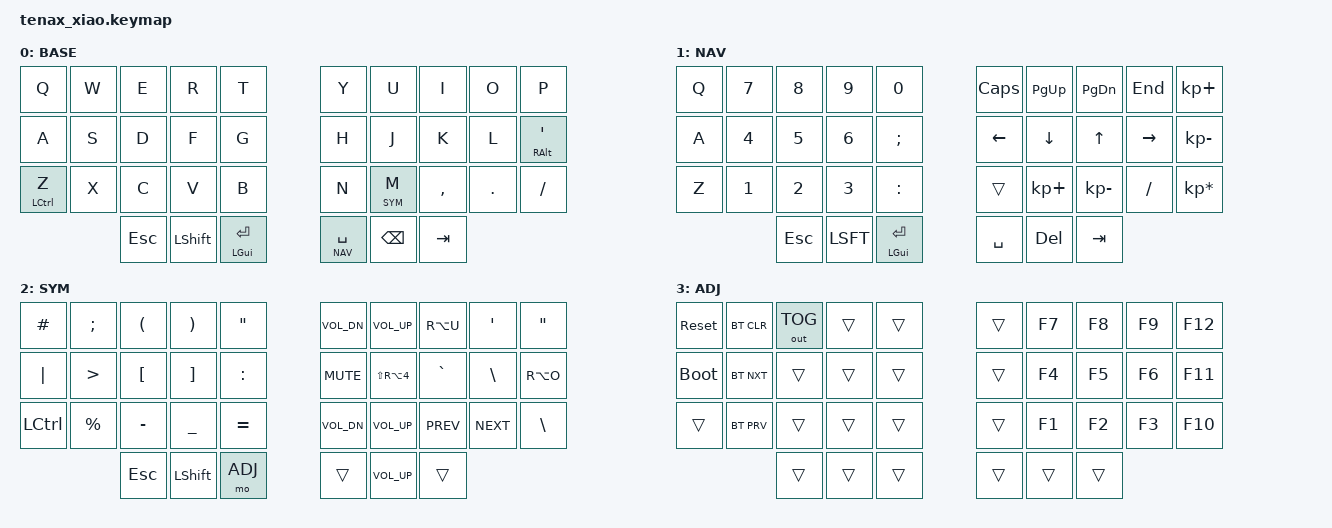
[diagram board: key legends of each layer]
#include <behaviors.dtsi>
#include <dt-bindings/zmk/keys.h>
#include <dt-bindings/zmk/bt.h>
#include <dt-bindings/zmk/outputs.h>

#define BASE 0
#define NAV  1
#define SYM  2
#define ADJ  3

&mt {
  quick-tap-ms = <100>;
  global-quick-tap;
  flavor = "hold-preferred";
  tapping-term-ms = <150>;
};

/ {
    combos {
            compatible = "zmk,combos";
            combo_esc {
                timeout-ms = <50>;
                key-positions = <0 1>;
                bindings = <&kp ESC>;
            };
    };

    macros {
        gif: gif {
            label = "giphy";
            compatible = "zmk,behavior-macro";
            #binding-cells = <0>;
            bindings
                = <&macro_press &kp LSHFT>
                , <&macro_tap &kp N2>
                , <&macro_release &kp LSHFT>
                , <&macro_tap &kp G &kp I &kp F>
                ;
        };
        vim_save: vim_save {
            label = "ZM_vim_save";
            compatible = "zmk,behavior-macro";
            #binding-cells = <0>;
            bindings
                = <&macro_tap &kp COLON &kp W &kp RET>
                ;
        };
        vim_quit: vim_quit {
            label = "ZM_vim_quit";
            compatible = "zmk,behavior-macro";
            #binding-cells = <0>;
            bindings
                = <&macro_tap &kp COLON &kp Q &kp RET>
                ;
        };
    };

        keymap {
                compatible = "zmk,keymap";
// ▄▄▄▄▄▄▄▄▄▄▄▄▄▄▄▄▄▄▄▄▄▄▄▄▄▄▄▄▄▄▄▄▄▄▄▄▄▄▄▄▄▄▄▄▄▄▄▄▄▄▄▄▄▄▄▄▄▄▄▄▄▄▄▄▄▄▄▄▄▄▄▄▄▄▄▄▄▄▄▄▄▄▄▄▄▄▄▄▄▄▄▄▄▄▄▄▄▄▄▄▄▄▄▄▄▄▄▄▄▄▄▄▄▄▄▄▄▄▄▄▄▄▄▄▄▄▄▄▄▄▄▄▄▄▄▄▄▄▄▄▄▄▄▄▄▄▄▄▄

                base_layer {
// ┏━━━━━━━━━━━━━━━━━━━━━━━━━━━━━━━━━━━━━━━┓
label= "BASE"                              ;
// ┗━━━━━━━━━━━━━━━━━━━━━━━━━━━━━━━━━━━━━━━┛
//             ┏━━━━━━━━━━━┳━━━━━━━━━━━┳━━━━━━━━━━━┳━━━━━━━━━━━┳━━━━━━━━━━━┓   ┏━━━━━━━━━━━┳━━━━━━━━━━━┳━━━━━━━━━━━┳━━━━━━━━━━━┳━━━━━━━━━━━┓
//             ┃     Q     ┃     W     ┃     E     ┃     R     ┃     T     ┃   ┃     Y     ┃     U     ┃     I     ┃     O     ┃     P     ┃
//             ┣━━━━━━━━━━━╋━━━━━━━━━━━╋━━━━━━━━━━━╋━━━━━━━━━━━╋━━━━━━━━━━━┫   ┣━━━━━━━━━━━╋━━━━━━━━━━━╋━━━━━━━━━━━╋━━━━━━━━━━━╋━━━━━━━━━━━┫
//             ┃     A     ┃     S     ┃     D     ┃     F     ┃     G     ┃   ┃     H     ┃     J     ┃     K     ┃     L     ┃     '     ┃
// ┏━━━━━━━━━━━╋━━━━━━━━━━━╋━━━━━━━━━━━╋━━━━━━━━━━━╋━━━━━━━━━━━╋━━━━━━━━━━━┫   ┣━━━━━━━━━━━╋━━━━━━━━━━━╋━━━━━━━━━━━╋━━━━━━━━━━━╋━━━━━━━━━━━╋━━━━━━━━━━━┓
// ┃           ┃     Z     ┃     X     ┃     C     ┃     V     ┃     B     ┃   ┃     N     ┃     M     ┃     ,     ┃     .     ┃     /     ┃           ┃
// ┗━━━━━━━━━━━┻━━━━━━━━━━━┻━━━━━━━━━━━╋━━━━━━━━━━━╋━━━━━━━━━━━╋━━━━━━━━━━━┫   ┣━━━━━━━━━━━╋━━━━━━━━━━━╋━━━━━━━━━━━╋━━━━━━━━━━━┻━━━━━━━━━━━┻━━━━━━━━━━━┛
//                                     ┃    ESC    ┃   SHIFT   ┃    ENTER  ┃   ┃   SPC     ┃   BSPC    ┃    TAB    ┃
//                                     ┗━━━━━━━━━━━┻━━━━━━━━━━━┻━━━━━━━━━━━┛   ┗━━━━━━━━━━━┻━━━━━━━━━━━┻━━━━━━━━━━━┛
 bindings = <
// ╷           ╷            ╷           ╷           ╷           ╷           ╷   ╷              ╷           ╷           ╷           ╷

    &kp Q        &kp W       &kp E       &kp R       &kp T           &kp Y          &kp U       &kp I       &kp O       &kp P
    &kp A        &kp S       &kp D       &kp F       &kp G           &kp H          &kp J       &kp K       &kp L       &mt RALT SQT
    &mt LCTRL Z  &kp X       &kp C       &kp V       &kp B           &kp N          &lt SYM M   &kp COMMA   &kp DOT     &kp FSLH
                             &kp ESC     &kp LSHIFT  &mt LGUI RET    &lt NAV SPACE  &kp BSPC    &kp TAB
                        >;
                };

// ▄▄▄▄▄▄▄▄▄▄▄▄▄▄▄▄▄▄▄▄▄▄▄▄▄▄▄▄▄▄▄▄▄▄▄▄▄▄▄▄▄▄▄▄▄▄▄▄▄▄▄▄▄▄▄▄▄▄▄▄▄▄▄▄▄▄▄▄▄▄▄▄▄▄▄▄▄▄▄▄▄▄▄▄▄▄▄▄▄▄▄▄▄▄▄▄▄▄▄▄▄▄▄▄▄▄▄▄▄▄▄▄▄▄▄▄▄▄▄▄▄▄▄▄▄▄▄▄▄▄▄▄▄▄▄▄▄▄▄▄▄▄▄▄▄▄▄▄▄


                nav_layer {
// ┏━━━━━━━━━━━━━━━━━━━━━━━━━━━━━━━━━━━━━━━┓
label= "NAV"                               ;
// ┗━━━━━━━━━━━━━━━━━━━━━━━━━━━━━━━━━━━━━━━┛
// OLD
//             ┏━━━━━━━━━━━┳━━━━━━━━━━━┳━━━━━━━━━━━┳━━━━━━━━━━━┳━━━━━━━━━━━┓   ┏━━━━━━━━━━━┳━━━━━━━━━━━┳━━━━━━━━━━━┳━━━━━━━━━━━┳━━━━━━━━━━━┓
//             ┃           ┃           ┃     UP    ┃           ┃     {     ┃   ┃     }     ┃     7     ┃     8     ┃     9     ┃     +     ┃
//             ┣━━━━━━━━━━━╋━━━━━━━━━━━╋━━━━━━━━━━━╋━━━━━━━━━━━╋━━━━━━━━━━━┫   ┣━━━━━━━━━━━╋━━━━━━━━━━━╋━━━━━━━━━━━╋━━━━━━━━━━━╋━━━━━━━━━━━┫
//             ┃   SHIFT   ┃   LEFT    ┃    DOWN   ┃   RIGHT   ┃     [     ┃   ┃     ]     ┃     4     ┃     5     ┃     6     ┃     -     ┃
// ┏━━━━━━━━━━━╋━━━━━━━━━━━╋━━━━━━━━━━━╋━━━━━━━━━━━╋━━━━━━━━━━━╋━━━━━━━━━━━┫   ┣━━━━━━━━━━━╋━━━━━━━━━━━╋━━━━━━━━━━━╋━━━━━━━━━━━╋━━━━━━━━━━━╋━━━━━━━━━━━┓
// ┃           ┃           ┃   P UP    ┃  C LOCK   ┃  P DOWN   ┃     (     ┃   ┃     )     ┃     1     ┃     2     ┃     3     ┃     *     ┃           ┃
// ┗━━━━━━━━━━━┻━━━━━━━━━━━┻━━━━━━━━━━━╋━━━━━━━━━━━╋━━━━━━━━━━━╋━━━━━━━━━━━┫   ┣━━━━━━━━━━━╋━━━━━━━━━━━╋━━━━━━━━━━━╋━━━━━━━━━━━┻━━━━━━━━━━━┻━━━━━━━━━━━┛
//                                     ┃           ┃    TAB    ┃    SPC    ┃   ┃    DEL    ┃     0     ┃           ┃
//                                     ┗━━━━━━━━━━━┻━━━━━━━━━━━┻━━━━━━━━━━━┛   ┗━━━━━━━━━━━┻━━━━━━━━━━━┻━━━━━━━━━━━┛
// NEW
//             ┏━━━━━━━━━━━┳━━━━━━━━━━━┳━━━━━━━━━━━┳━━━━━━━━━━━┳━━━━━━━━━━━┓   ┏━━━━━━━━━━━┳━━━━━━━━━━━┳━━━━━━━━━━━┳━━━━━━━━━━━┳━━━━━━━━━━━┓
//             ┃     Q     ┃     7     ┃     8     ┃     9     ┃     0     ┃   ┃  C LOCK   ┃   P UP    ┃    UP     ┃  P DOWN   ┃     +     ┃
//             ┣━━━━━━━━━━━╋━━━━━━━━━━━╋━━━━━━━━━━━╋━━━━━━━━━━━╋━━━━━━━━━━━┫   ┣━━━━━━━━━━━╋━━━━━━━━━━━╋━━━━━━━━━━━╋━━━━━━━━━━━╋━━━━━━━━━━━┫
//             ┃     A     ┃     4     ┃     5     ┃     6     ┃     ;     ┃   ┃           ┃   LEFT    ┃   DOWN    ┃   RIGHT   ┃     -     ┃
// ┏━━━━━━━━━━━╋━━━━━━━━━━━╋━━━━━━━━━━━╋━━━━━━━━━━━╋━━━━━━━━━━━╋━━━━━━━━━━━┫   ┣━━━━━━━━━━━╋━━━━━━━━━━━╋━━━━━━━━━━━╋━━━━━━━━━━━╋━━━━━━━━━━━╋━━━━━━━━━━━┓
// ┃           ┃     Z     ┃     1     ┃     2     ┃     3     ┃     :     ┃   ┃           ┃     +     ┃     -     ┃     /     ┃     *     ┃           ┃
// ┗━━━━━━━━━━━┻━━━━━━━━━━━┻━━━━━━━━━━━╋━━━━━━━━━━━╋━━━━━━━━━━━╋━━━━━━━━━━━┫   ┣━━━━━━━━━━━╋━━━━━━━━━━━╋━━━━━━━━━━━╋━━━━━━━━━━━┻━━━━━━━━━━━┻━━━━━━━━━━━┛
//                                     ┃    ESC    ┃    SHIFT  ┃    ENTER  ┃   ┃    SPC    ┃     DEL   ┃    TAB    ┃
//                                     ┗━━━━━━━━━━━┻━━━━━━━━━━━┻━━━━━━━━━━━┛   ┗━━━━━━━━━━━┻━━━━━━━━━━━┻━━━━━━━━━━━┛
 bindings = <
// ╷           ╷           ╷           ╷           ╷           ╷           ╷      ╷           ╷           ╷             ╷           ╷           ╷           ╷

    &kp Q       &kp N7       &kp N8     &kp N9       &kp N0             &kp CAPS    &kp PG_UP   &kp PG_DN     &kp END     &kp KP_PLUS
    &kp A       &kp N4       &kp N5     &kp N6       &kp SEMI           &kp LEFT    &kp DOWN    &kp UP        &kp RIGHT   &kp KP_MINUS
    &kp Z       &kp N1       &kp N2     &kp N3       &kp COLON          &trans      &kp KP_PLUS &kp KP_MINUS  &kp SLASH   &kp KP_MULTIPLY
                             &kp ESC    &kp LSFT     &mt LGUI RET       &kp SPACE   &kp DEL     &kp TAB
                        >;
                };

// ▄▄▄▄▄▄▄▄▄▄▄▄▄▄▄▄▄▄▄▄▄▄▄▄▄▄▄▄▄▄▄▄▄▄▄▄▄▄▄▄▄▄▄▄▄▄▄▄▄▄▄▄▄▄▄▄▄▄▄▄▄▄▄▄▄▄▄▄▄▄▄▄▄▄▄▄▄▄▄▄▄▄▄▄▄▄▄▄▄▄▄▄▄▄▄▄▄▄▄▄▄▄▄▄▄▄▄▄▄▄▄▄▄▄▄▄▄▄▄▄▄▄▄▄▄▄▄▄▄▄▄▄▄▄▄▄▄▄▄▄▄▄▄▄▄▄▄▄▄


                sim_layer {
// ┏━━━━━━━━━━━━━━━━━━━━━━━━━━━━━━━━━━━━━━━┓
label= "SYM"                               ;
// ┗━━━━━━━━━━━━━━━━━━━━━━━━━━━━━━━━━━━━━━━┛
// OLD
//             ┏━━━━━━━━━━━┳━━━━━━━━━━━┳━━━━━━━━━━━┳━━━━━━━━━━━┳━━━━━━━━━━━┓   ┏━━━━━━━━━━━┳━━━━━━━━━━━┳━━━━━━━━━━━┳━━━━━━━━━━━┳━━━━━━━━━━━┓
//             ┃     !     ┃     @     ┃     #     ┃     $     ┃     %     ┃   ┃     ˆ     ┃     &     ┃     Ü     ┃     '     ┃     "     ┃
//             ┣━━━━━━━━━━━╋━━━━━━━━━━━╋━━━━━━━━━━━╋━━━━━━━━━━━╋━━━━━━━━━━━┫   ┣━━━━━━━━━━━╋━━━━━━━━━━━╋━━━━━━━━━━━╋━━━━━━━━━━━╋━━━━━━━━━━━┫
//             ┃     Ä     ┃           ┃    SZ     ┃           ┃           ┃   ┃   MUTE    ┃   YEN     ┃   EURO    ┃  POUND    ┃     Ö     ┃
// ┏━━━━━━━━━━━╋━━━━━━━━━━━╋━━━━━━━━━━━╋━━━━━━━━━━━╋━━━━━━━━━━━╋━━━━━━━━━━━┫   ┣━━━━━━━━━━━╋━━━━━━━━━━━╋━━━━━━━━━━━╋━━━━━━━━━━━╋━━━━━━━━━━━╋━━━━━━━━━━━┓
// ┃           ┃  EMAIL1   ┃  EMAIL2   ┃           ┃           ┃           ┃   ┃   VOL-    ┃   VOL+    ┃   LAST    ┃   NEXT    ┃     \     ┃           ┃
// ┗━━━━━━━━━━━┻━━━━━━━━━━━┻━━━━━━━━━━━╋━━━━━━━━━━━╋━━━━━━━━━━━╋━━━━━━━━━━━┫   ┣━━━━━━━━━━━╋━━━━━━━━━━━╋━━━━━━━━━━━╋━━━━━━━━━━━┻━━━━━━━━━━━┻━━━━━━━━━━━┛
//                                     ┃           ┃    GIF    ┃    ADJ    ┃   ┃           ┃           ┃           ┃
//                                     ┗━━━━━━━━━━━┻━━━━━━━━━━━┻━━━━━━━━━━━┛   ┗━━━━━━━━━━━┻━━━━━━━━━━━┻━━━━━━━━━━━┛
// NEW
//             ┏━━━━━━━━━━━┳━━━━━━━━━━━┳━━━━━━━━━━━┳━━━━━━━━━━━┳━━━━━━━━━━━┓   ┏━━━━━━━━━━━┳━━━━━━━━━━━┳━━━━━━━━━━━┳━━━━━━━━━━━┳━━━━━━━━━━━┓
//             ┃     #     ┃     ;     ┃     (     ┃     )     ┃     "     ┃   ┃   VOL-    ┃   VOL+    ┃     Ü     ┃     '     ┃     "     ┃
//             ┣━━━━━━━━━━━╋━━━━━━━━━━━╋━━━━━━━━━━━╋━━━━━━━━━━━╋━━━━━━━━━━━┫   ┣━━━━━━━━━━━╋━━━━━━━━━━━╋━━━━━━━━━━━╋━━━━━━━━━━━╋━━━━━━━━━━━┫
//             ┃     |     ┃     >     ┃     [     ┃     ]     ┃     :     ┃   ┃   MUTE    ┃   YEN     ┃     `     ┃     \     ┃     Ö     ┃
// ┏━━━━━━━━━━━╋━━━━━━━━━━━╋━━━━━━━━━━━╋━━━━━━━━━━━╋━━━━━━━━━━━╋━━━━━━━━━━━┫   ┣━━━━━━━━━━━╋━━━━━━━━━━━╋━━━━━━━━━━━╋━━━━━━━━━━━╋━━━━━━━━━━━╋━━━━━━━━━━━┓
// ┃           ┃  EMAIL1   ┃     %     ┃     -     ┃     _     ┃     =     ┃   ┃   VOL-    ┃   VOL+    ┃   LAST    ┃   NEXT    ┃     \     ┃           ┃
// ┗━━━━━━━━━━━┻━━━━━━━━━━━┻━━━━━━━━━━━╋━━━━━━━━━━━╋━━━━━━━━━━━╋━━━━━━━━━━━┫   ┣━━━━━━━━━━━╋━━━━━━━━━━━╋━━━━━━━━━━━╋━━━━━━━━━━━┻━━━━━━━━━━━┻━━━━━━━━━━━┛
//                                     ┃           ┃    GIF    ┃    ADJ    ┃   ┃           ┃           ┃           ┃
//                                     ┗━━━━━━━━━━━┻━━━━━━━━━━━┻━━━━━━━━━━━┛   ┗━━━━━━━━━━━┻━━━━━━━━━━━┻━━━━━━━━━━━┛
 bindings = <
// ╷           ╷           ╷           ╷           ╷           ╷           ╷   ╷            ╷               ╷            ╷           ╷           ╷           ╷

    &kp HASH    &kp SEMI    &kp LPAR    &kp RPAR    &kp DQT         &kp C_VOL_DN &kp C_VOL_UP    &kp RA(U)    &kp SQT     &kp DQT
    &kp PIPE    &kp GT      &kp LBKT    &kp RBKT    &kp COLON       &kp C_MUTE   &kp LS(RA(N4))  &kp GRAVE    &kp BSLH    &kp RA(O)
    &kp LCTRL   &kp PERCENT &kp MINUS   &kp UNDER   &kp EQUAL       &kp C_VOL_DN &kp C_VOL_UP    &kp C_PREV   &kp C_NEXT  &kp BSLH
                            &kp ESC     &kp LSHIFT  &mo ADJ         &trans       &kp C_VOL_UP    &trans
                        >;
                };

// ▄▄▄▄▄▄▄▄▄▄▄▄▄▄▄▄▄▄▄▄▄▄▄▄▄▄▄▄▄▄▄▄▄▄▄▄▄▄▄▄▄▄▄▄▄▄▄▄▄▄▄▄▄▄▄▄▄▄▄▄▄▄▄▄▄▄▄▄▄▄▄▄▄▄▄▄▄▄▄▄▄▄▄▄▄▄▄▄▄▄▄▄▄▄▄▄▄▄▄▄▄▄▄▄▄▄▄▄▄▄▄▄▄▄▄▄▄▄▄▄▄▄▄▄▄▄▄▄▄▄▄▄▄▄▄▄▄▄▄▄▄▄▄▄▄▄▄▄▄


                adjust_layer {
// ┏━━━━━━━━━━━━━━━━━━━━━━━━━━━━━━━━━━━━━━━┓
label= "ADJ"                               ;
// ┗━━━━━━━━━━━━━━━━━━━━━━━━━━━━━━━━━━━━━━━┛
//             ┏━━━━━━━━━━━┳━━━━━━━━━━━┳━━━━━━━━━━━┳━━━━━━━━━━━┳━━━━━━━━━━━┓   ┏━━━━━━━━━━━┳━━━━━━━━━━━┳━━━━━━━━━━━┳━━━━━━━━━━━┳━━━━━━━━━━━┓
//             ┃   RESET   ┃ BT CLEAR  ┃  OUT TOG  ┃           ┃           ┃   ┃           ┃    F7     ┃    F8     ┃    F9     ┃    F12    ┃
//             ┣━━━━━━━━━━━╋━━━━━━━━━━━╋━━━━━━━━━━━╋━━━━━━━━━━━╋━━━━━━━━━━━┫   ┣━━━━━━━━━━━╋━━━━━━━━━━━╋━━━━━━━━━━━╋━━━━━━━━━━━╋━━━━━━━━━━━┫
//             ┃ BOOTLOAD  ┃ BT NEXT   ┃           ┃           ┃           ┃   ┃           ┃    F4     ┃    F5     ┃    F6     ┃    F11    ┃
// ┏━━━━━━━━━━━╋━━━━━━━━━━━╋━━━━━━━━━━━╋━━━━━━━━━━━╋━━━━━━━━━━━╋━━━━━━━━━━━┫   ┣━━━━━━━━━━━╋━━━━━━━━━━━╋━━━━━━━━━━━╋━━━━━━━━━━━╋━━━━━━━━━━━╋━━━━━━━━━━━┓
// ┃           ┃           ┃ BT PREV   ┃           ┃           ┃           ┃   ┃           ┃    F1     ┃    F2     ┃    F3     ┃    F10    ┃           ┃
// ┗━━━━━━━━━━━┻━━━━━━━━━━━┻━━━━━━━━━━━╋━━━━━━━━━━━╋━━━━━━━━━━━╋━━━━━━━━━━━┫   ┣━━━━━━━━━━━╋━━━━━━━━━━━╋━━━━━━━━━━━╋━━━━━━━━━━━┻━━━━━━━━━━━┻━━━━━━━━━━━┛
//                                     ┃           ┃           ┃           ┃   ┃           ┃           ┃           ┃
//                                     ┗━━━━━━━━━━━┻━━━━━━━━━━━┻━━━━━━━━━━━┛   ┗━━━━━━━━━━━┻━━━━━━━━━━━┻━━━━━━━━━━━┛
 bindings = <
// ╷           ╷           ╷           ╷           ╷           ╷           ╷   ╷           ╷           ╷           ╷           ╷           ╷           ╷

    &sys_reset  &bt BT_CLR &out OUT_TOG &trans      &trans          &trans      &kp F7      &kp F8      &kp F9      &kp F12
    &bootloader &bt BT_NXT  &trans      &trans      &trans          &trans      &kp F4      &kp F5      &kp F6      &kp F11
    &trans      &bt BT_PRV  &trans      &trans      &trans          &trans      &kp F1      &kp F2      &kp F3      &kp F10
                            &trans      &trans      &trans          &trans      &trans      &trans
                        >;
                };
        };
};
